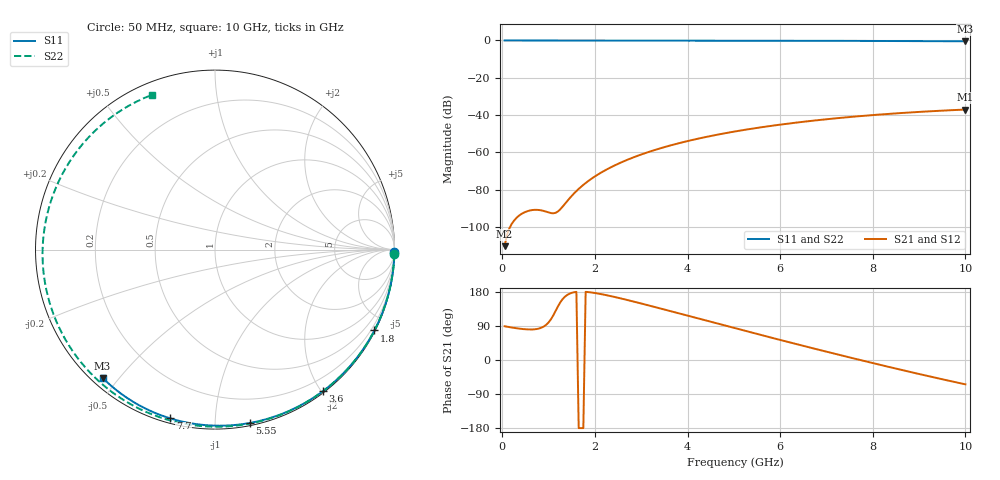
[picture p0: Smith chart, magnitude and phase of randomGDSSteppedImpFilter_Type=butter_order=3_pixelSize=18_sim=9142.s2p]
! freq	dB(S11)	phase(S11)	dB(S12)	phase(S12)
!  dB(S21)	phase(S21)	dB(S22)	phase(S22)
!S-par simulation data
#  GHz  S  DB  R 50
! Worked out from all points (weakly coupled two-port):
!   200 points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, 50 MHz to 10 GHz, reference 50 ohm
!   highest |S21| = -37.03 dB at 10 GHz (marker M1); lowest = -110.3 dB at 50 MHz (marker M2)
!   lowest |S11| = -0.4 dB at 10 GHz (marker M3), VSWR 39.10, Z = 1.54 - j22.7 ohm
!   |S11| at or under -10 dB: nowhere
!   |S22| runs from -0.6 to 0.0 dB; largest |S21 - S12| = 0
!   S11 on the Smith chart (normalised r, x): 50 MHz: open; 1.8 GHz: 0.04, -4.18; 3.6 GHz: 0.02, -2.02; 5.55 GHz: 0.02, -1.22; 7.7 GHz: 0.02, -0.77; 10 GHz: 0.03, -0.45
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0.05  -0.00 -0.8  -110.27 89.1  -110.27 89.1  -0.00 -1.5
0.4  -0.01 -6.0  -93.21 82.3  -93.21 82.3  -0.02 -11.5
0.8  -0.02 -12.1  -90.91 83.3  -90.91 83.3  -0.03 -22.9
1.6  -0.03 -24.0  -80.73 179.8  -80.73 179.8  -0.06 -45.2
1.65  -0.03 -24.7  -79.56 -179.7  -79.56 -179.7  -0.06 -46.5
1.75  -0.03 -26.2  -77.40 -179.8  -77.40 -179.8  -0.06 -49.2
1.8  -0.03 -26.9  -76.41 179.9  -76.41 179.9  -0.06 -50.6
2.1  -0.04 -31.3  -71.33 174.7  -71.33 174.7  -0.07 -58.6
2.5  -0.05 -37.1  -66.13 164.2  -66.13 164.2  -0.09 -69.1
2.9  -0.06 -42.8  -62.03 152.2  -62.03 152.2  -0.10 -79.3
3.4  -0.07 -49.8  -57.90 136.4  -57.90 136.4  -0.12 -91.7
3.6  -0.07 -52.6  -56.48 130.0  -56.48 130.0  -0.12 -96.5
4.3  -0.09 -62.1  -52.25 107.3  -52.25 107.3  -0.15 -113.0
5.05  -0.11 -72.1  -48.67 83.1  -48.67 83.1  -0.19 -130.1
5.55  -0.13 -78.5  -46.69 67.1  -46.69 67.1  -0.22 -141.3
6.15  -0.15 -86.1  -44.64 48.2  -44.64 48.2  -0.26 -154.5
6.7  -0.18 -92.9  -43.02 31.1  -43.02 31.1  -0.30 -166.8
7.2  -0.21 -98.9  -41.74 15.9  -41.74 15.9  -0.34 -178.0
7.7  -0.24 -104.9  -40.61 0.8  -40.61 0.8  -0.39 170.5
8.35  -0.29 -112.5  -39.35 -18.4  -39.35 -18.4  -0.45 155.1
9.15  -0.36 -121.6  -38.08 -41.2  -38.08 -41.2  -0.53 135.1
10  -0.44 -131.2  -37.03 -64.2  -37.03 -64.2  -0.62 112.2
